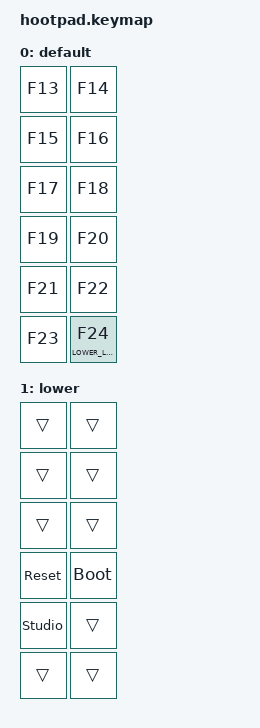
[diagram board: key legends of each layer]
/*
 * Copyright (c) 2021 The ZMK Contributors
 *
 * SPDX-License-Identifier: MIT
 */

#include <behaviors.dtsi>
#include <dt-bindings/zmk/keys.h>
#include <dt-bindings/zmk/outputs.h>

#define TIMEOUT 300
#define DEFAULT_LAYER 0
#define LOWER_LAYER 1

/ {
    combos {
        combo_reset {
            timeout-ms = <TIMEOUT>;
            key-positions = <0 2>;
            bindings = <&sys_reset>;
        };
        combo_bootloader {
            timeout-ms = <TIMEOUT>;
            key-positions = <0 1>;
            bindings = <&bootloader>;
        };
    };

    keymap: keymap {
        compatible = "zmk,keymap";
        default_layer {
            display-name = "default";
            bindings = <
                            &kp F13       &kp F14
                            &kp F15       &kp F16
                            &kp F17       &kp F18
                            &kp F19       &kp F20
                            &kp F21       &kp F22
                            &kp F23       &lt LOWER_LAYER F24

            >;

        };
        lower {
            display-name = "lower";
            bindings = <
                            &trans         &trans
                            &trans         &trans
                            &trans         &trans
                            &sys_reset     &bootloader
                            &studio_unlock &trans
                            &trans         &trans

            >;

        };
    };
};
